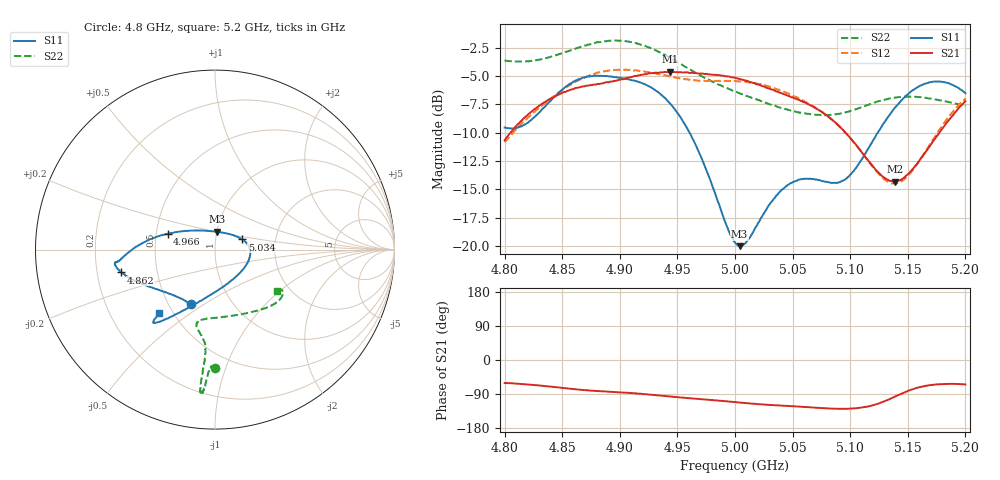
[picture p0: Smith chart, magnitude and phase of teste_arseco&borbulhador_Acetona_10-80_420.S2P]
! Network Analyzer HP8722D
! Hewlett-Packard
! Data name: Linha & Wilkinson
! Saver's name: Rodrigo Anjos
! Comments: Teste da utilização de aquisição
! continua pelo VNA HP8722D
! Time and date: 17/4/2025 17:51
!  Frequency  S11  S21  S12  S22
# HZ  S  MA R 50
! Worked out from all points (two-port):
!   401 points, 4.8 GHz to 5.2 GHz, reference 50 ohm
!   highest |S21| = -4.62 dB at 4.944 GHz (marker M1); lowest = -14.3 dB at 5.139 GHz (marker M2)
!   |S21| within 3 dB of the highest: 4.83 GHz to 5.066 GHz (235.9 MHz wide, 4.77 % of centre); 5.196191 GHz to end of sweep
!   lowest |S11| = -20.0 dB at 5.004 GHz (marker M3), VSWR 1.22, Z = 49.9 + j10 ohm
!   |S11| at or under -10 dB: 4.961 GHz to 5.124 GHz (163.4 MHz wide, 3.24 % of centre)
!   |S22| runs from -8.5 to -1.9 dB; largest |S21 - S12| = 0.88
!   S11 on the Smith chart (normalised r, x): 4.8 GHz: 0.65, -0.44; 4.862 GHz: 0.30, -0.11; 4.966 GHz: 0.57, +0.11; 5.034 GHz: 1.35, +0.16; 5.2 GHz: 0.42, -0.39
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4.8e9  0.333 -113.7  0.2925 -60.9  0.2869 -175.0  0.6579 -90.1
4.819e9  0.3475 -133.8  0.3748 -64.2  0.3624 -173.8  0.6527 -91.7
4.862e9  0.5375 -166.3  0.4981 -77.4  0.5324 -177.0  0.7445 -94.1
4.867e9  0.5502 -168.4  0.5049 -78.9  0.5468 -178.1  0.7585 -94.1
4.899e9  0.5523 -172.8  0.5401 -85.4  0.5994 175.2  0.8045 -95.5
4.934e9  0.474 -178.8  0.5808 -93.7  0.5733 171.7  0.7164 -96.0
4.944e9  0.4236 176.4  0.5876 -96.4  0.5595 171.8  0.6749 -95.7
4.966e9  0.2784 161.5  0.5792 -102.2  0.5384 173.7  0.58 -95.2
5e9  0.1036 98.5  0.5524 -111.2  0.5352 176.0  0.4796 -99.5
5.004e9  0.09985 84.7  0.5457 -112.0  0.532 176.0  0.4717 -100.3
5.012e9  0.1074 59.1  0.5313 -114.4  0.5264 175.8  0.4558 -102.0
5.034e9  0.1621 20.3  0.4861 -119.3  0.497 174.7  0.416 -103.7
5.05e9  0.1913 4.1  0.4525 -122.1  0.4611 174.0  0.3951 -99.6
5.067e9  0.1975 -14.1  0.4141 -125.3  0.4158 173.4  0.3803 -90.6
5.087e9  0.1899 -46.5  0.351 -128.6  0.35 173.6  0.381 -75.3
5.097e9  0.1987 -67.1  0.3114 -128.8  0.3117 174.7  0.39 -67.1
5.134e9  0.3774 -117.0  0.1941 -103.4  0.1906 -156.4  0.4472 -43.0
5.139e9  0.4084 -120.1  0.192 -96.5  0.1888 -148.4  0.4517 -40.8
5.151e9  0.4718 -125.1  0.2094 -80.6  0.2066 -130.2  0.4562 -36.4
5.17e9  0.5284 -129.4  0.2799 -66.1  0.2849 -112.2  0.447 -32.0
5.184e9  0.5248 -130.7  0.3518 -63.1  0.3633 -107.3  0.4333 -31.1
5.2e9  0.4721 -131.1  0.4355 -64.5  0.4475 -106.6  0.4162 -33.5
